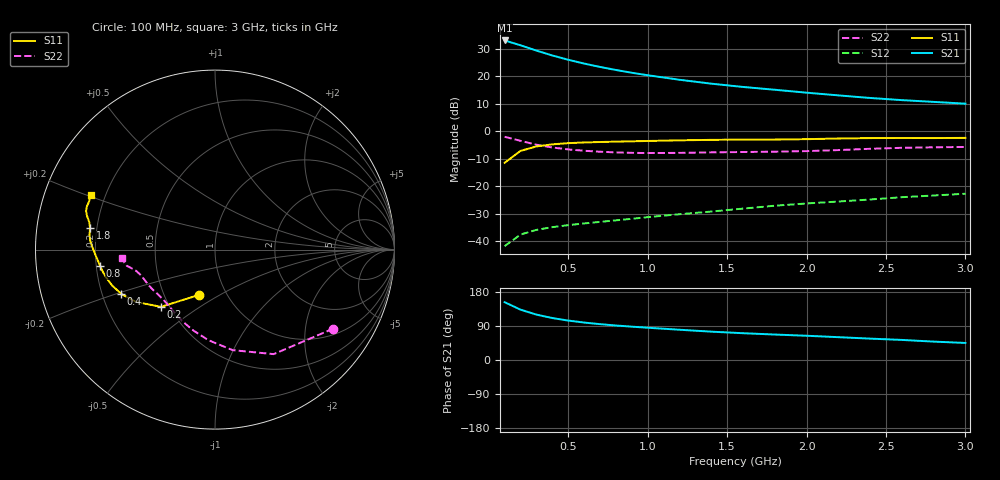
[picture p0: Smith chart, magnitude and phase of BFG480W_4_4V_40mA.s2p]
! Filename: 4_440BFG480.001
! Title: BFG480W
! Bias: Vce=4.4V; Ic=40mA
! Company: Philips Semiconductors NL
! User: Quality&Reliability T&D
! Measure time: 10 Nov 1999 / 12:05:49
#  MHz  S  MA  R 50
! Freq  S11  S21  S12  S22  :
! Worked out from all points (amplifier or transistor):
!   20 points, 100 MHz to 3 GHz, reference 50 ohm
!   highest |S21| = 33.0 dB at 100 MHz (marker M1)
!   |S21| within 3 dB of that: start of sweep to 265 MHz
!   unconditionally stable (mu >= 1): 1.039 GHz to end of sweep
!   at 400 MHz: K = 0.60, MSG = 31.2 dB, |S12| = -34.9 dB
!   at 1.2 GHz: K = 1.04, MAG = 23.2 dB, |S12| = -30.2 dB
!   at 3 GHz: K = 1.06, MAG = 14.8 dB, |S12| = -22.7 dB
!   S11 on the Smith chart (normalised r, x): 100 MHz: 0.75, -0.40; 200 MHz: 0.45, -0.36; 400 MHz: 0.28, -0.21; 800 MHz: 0.22, -0.07; 1.8 GHz: 0.17, +0.08; 3 GHz: 0.14, +0.20
100  0.266 -109.0  44.71 152.6  0.008127 62.0  0.7923 -33.8
200  0.4384 -133.3  36.56 132.9  0.01321 54.3  0.6679 -60.7
300  0.5289 -146.6  29.29 119.8  0.01609 50.2  0.5688 -80.0
400  0.5774 -154.7  23.84 110.7  0.018 49.0  0.506 -94.2
500  0.6068 -160.7  19.94 104.1  0.0196 49.5  0.4668 -104.9
600  0.6245 -165.2  16.99 98.8  0.02105 50.9  0.4413 -113.2
700  0.6367 -168.8  14.76 94.6  0.02246 52.9  0.4238 -119.8
800  0.6464 -171.9  13 91.0  0.02397 54.9  0.412 -125.4
900  0.6555 -174.6  11.57 88.0  0.02555 57.2  0.4046 -130.2
1000  0.6649 -177.0  10.42 85.2  0.02738 59.0  0.4012 -134.5
1200  0.6829 179.0  8.628 79.9  0.03096 62.3  0.4039 -141.8
1400  0.6967 176.0  7.321 74.8  0.03463 64.9  0.4124 -147.3
1600  0.7042 173.2  6.386 70.7  0.03916 67.2  0.4186 -151.4
1800  0.706 170.3  5.675 67.2  0.0442 69.0  0.4251 -155.6
2000  0.7171 167.7  5.024 64.0  0.04859 70.7  0.4349 -160.4
2200  0.7373 165.2  4.485 60.3  0.05269 71.5  0.454 -164.8
2400  0.7503 163.2  4.024 56.4  0.05733 71.7  0.4793 -167.7
2600  0.7533 161.5  3.678 53.0  0.06314 71.7  0.4996 -169.6
2800  0.7512 159.1  3.415 48.5  0.06781 70.9  0.5098 -171.7
3000  0.7564 156.4  3.169 45.0  0.07306 70.6  0.5177 -174.8
